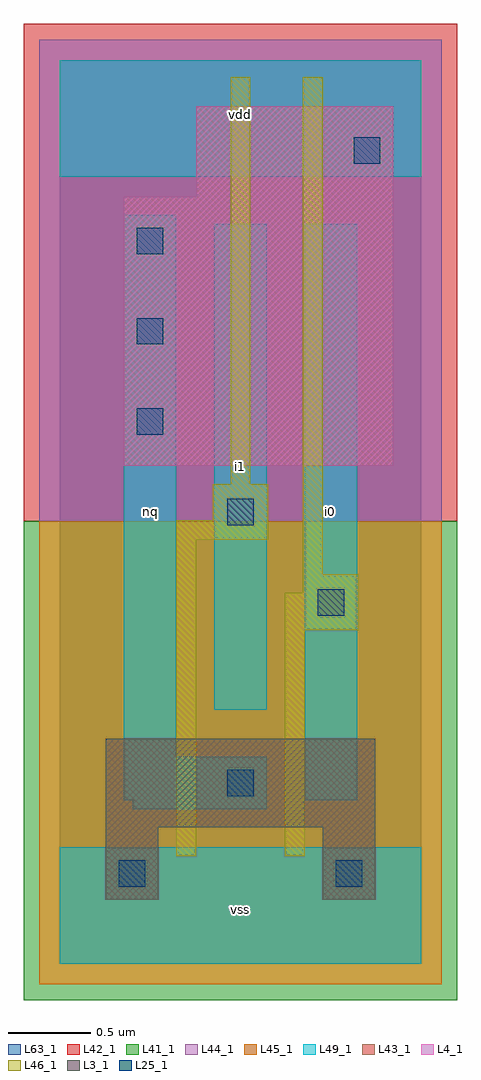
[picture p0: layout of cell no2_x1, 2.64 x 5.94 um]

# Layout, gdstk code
import gdstk
lib = gdstk.Library(unit=1e-6, precision=1e-09)
def R(c, l, rs):  # rectangles x0, y0, x1, y1
    for r in rs: c.add(gdstk.rectangle(r[:2], r[2:], *l))
def A(c, l, x, y, w, h, nx, ny, dx, dy):  # array of equal rectangles
    R(c, l, [(x+i*dx, y+j*dy, x+i*dx+w, y+j*dy+h) for i in range(nx) for j in range(ny)])
L3_1 = (3, 1)
L4_1 = (4, 1)
L25_1 = (25, 1)
L41_1 = (41, 1)
L42_1 = (42, 1)
L43_1 = (43, 1)
L44_1 = (44, 1)
L45_1 = (45, 1)
L46_1 = (46, 1)
L49_1 = (49, 1)
L63_1 = (63, 1)

no2_x1 = lib.new_cell('no2_x1')
R(no2_x1, L3_1, [(0.28,0.39,0.6,0.83), (1.6,0.39,1.92,0.83), (0.28,0.83,1.92,1.37)])
R(no2_x1, L4_1, [(0.39,3.03,2.03,4.67), (0.83,4.67,2.03,5.22)])
A(no2_x1, L25_1, 0.47, 3.22, 0.16, 0.16, 1, 3, 0, 0.55)
R(no2_x1, L25_1, [(0.36,0.47,0.52,0.63), (1.68,0.47,1.84,0.63), (1.02,1.02,1.18,1.18), (1.57,2.12,1.73,2.28), (1.02,2.67,1.18,2.83), (1.79,4.87,1.95,5.03)])
R(no2_x1, L41_1, [(-0.22,-0.22,2.42,2.695)])
R(no2_x1, L42_1, [(-0.22,2.695,2.42,5.72)])
R(no2_x1, L43_1, [(0.28,0.39,0.6,0.83), (1.6,0.39,1.92,0.83), (0.28,0.83,1.92,1.37), (0.39,3.03,2.03,4.67), (0.83,4.67,2.03,5.22)])
R(no2_x1, L44_1, [(-0.125,2.695,2.325,5.625)])
R(no2_x1, L45_1, [(-0.125,-0.125,2.325,2.695)])
R(no2_x1, L46_1, [(0.71,0.655,0.83,2.58), (1.37,0.655,1.49,2.03), (1.37,2.03,1.82,2.26), (1.48,2.26,1.82,2.37), (1.48,2.37,1.6,5.395), (0.71,2.58,1.27,2.7), (0.93,2.7,1.27,2.92), (1.04,2.92,1.16,5.395)])
R(no2_x1, L49_1, [(0,0,2.2,0.71), (0.445,0.94,1.26,0.995), (0.39,0.995,1.26,1.26), (1.49,0.995,1.81,4.505), (0.39,1.26,0.71,4.56), (0.94,1.545,1.26,4.505), (0,4.79,2.2,5.5)])
R(no2_x1, L63_1, [(0,0,2.2,5.5)])
no2_x1.add(gdstk.Label('nq', (0.55,2.75), layer=49, texttype=1))
no2_x1.add(gdstk.Label('nq', (0.55,2.75), layer=49, texttype=1))
no2_x1.add(gdstk.Label('vss', (1.1,0.33), layer=49, texttype=1))
no2_x1.add(gdstk.Label('vss', (1.1,0.33), layer=49, texttype=1))
no2_x1.add(gdstk.Label('i0', (1.65,2.75), layer=49, texttype=1))
no2_x1.add(gdstk.Label('i0', (1.65,2.75), layer=49, texttype=1))
no2_x1.add(gdstk.Label('i1', (1.1,3.025), layer=49, texttype=1))
no2_x1.add(gdstk.Label('i1', (1.1,3.025), layer=49, texttype=1))
no2_x1.add(gdstk.Label('vdd', (1.1,5.17), layer=49, texttype=1))
no2_x1.add(gdstk.Label('vdd', (1.1,5.17), layer=49, texttype=1))

lib.write_gds('no2_x1.gds')
